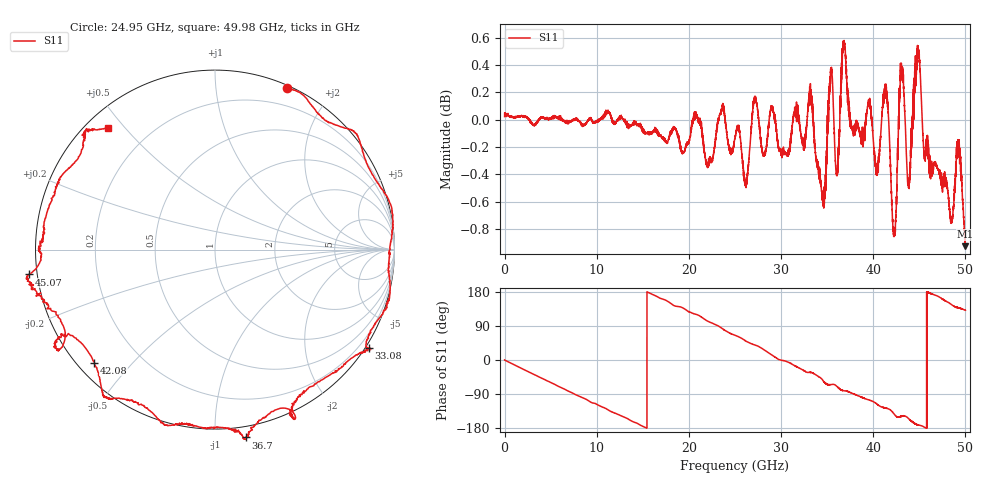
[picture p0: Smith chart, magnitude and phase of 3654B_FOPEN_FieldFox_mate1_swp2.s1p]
!Created with skrf (http://scikit-rf.org).
# Hz S RI R 50.0
!freq ReS11 ImS11
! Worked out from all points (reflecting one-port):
!   10001 points, 300 kHz to 50 GHz, reference 50 ohm
!   lowest |S11| = -0.9 dB at 50 GHz (marker M1), VSWR 18.75, Z = 3.21 + j22.6 ohm
!   phase of S11 starts at 0 deg and turns -589 deg over the sweep
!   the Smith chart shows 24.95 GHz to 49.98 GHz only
!   S11 on the Smith chart (normalised r, x): 24.95 GHz: 0.03, +1.54; 33.08 GHz: -0.11, -3.41; 36.7 GHz: -0.07, -1.17; 42.08 GHz: 0.05, -0.39; 45.07 GHz: -0.02, -0.07; 49.98 GHz: 0.06, +0.45
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300000  1.003 0.00189
2.625284e9  0.8528 -0.5241
6.250262e9  0.2747 -0.9613
9.025246e9  -0.2785 -0.9602
1.250022e10  -0.8274 -0.5651
1.565021e10  -0.9879 0.0422
1.875019e10  -0.7718 0.6168
2.096517e10  -0.4816 0.876
2.313016e10  -0.0104 0.9987
2.494515e10  0.3997 0.8979
2.500015e10  0.4104 0.8957
2.740014e10  0.8031 0.6154
2.890013e10  0.9781 0.2516
3.125011e10  0.9755 -0.2075
3.30801e10  0.8575 -0.5489
3.521509e10  0.4187 -0.931
3.600008e10  0.3548 -0.8877
3.669508e10  0.1713 -1.047
3.750008e10  0.076 -1.001
3.966506e10  -0.2859 -0.9716
4.149005e10  -0.6231 -0.8107
4.207505e10  -0.6727 -0.6299
4.286504e10  -0.8786 -0.516
4.375004e10  -0.8411 -0.4379
4.507003e10  -1.035 -0.1382
4.900001e10  -0.7282 0.6359
4.998e10  -0.594 0.676
5e10  -0.591 0.6771
